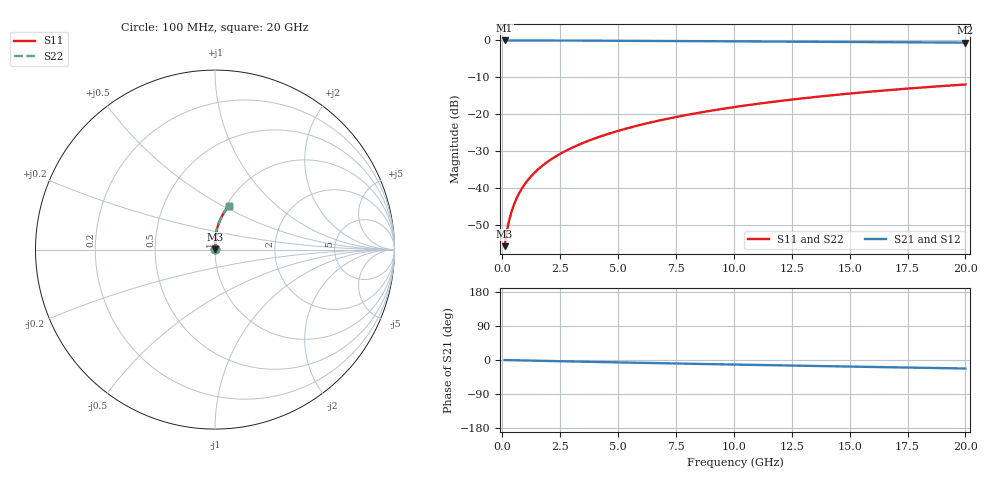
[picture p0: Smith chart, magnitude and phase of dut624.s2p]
! Touchstone file exported from HFSS 2024.1.0
!  File:  C:/UserFiles/LocalFiles/RDL_TSV_Batchsim/temp_RDL_bottom_624_1779784195.aedt
!  Generated:  04:32:39 PM May 26, 2026
!  Design:  RDL_bottom
!  Project:  temp_RDL_bottom_624_1779784195
!  Setup:  Setup1
!  Solution:  Sweep
! Variables:
!  dtsv = 10.80580581um
!  hbump = 3um
!  htsv = 74.66um
!  ldown = 266.69um
!  lrdl = 100um
!  p = 40
!  p1 = 59.56um
!  rhole = 1um
!  t = 450um
!  tdown = 4.65um
!  trdl = 3.915915916um
!  wdown = 21.86um
!  wrdl = 20um
# GHz S MA R 50.000000
! Terminal data exported
! Port[1] = RDL1_T1
! Port[2] = RDL1_T2
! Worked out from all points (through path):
!   200 points, 100 MHz to 20 GHz, reference 50 ohm
!   highest |S21| = -0.01 dB at 100 MHz (marker M1); lowest = -0.6 dB at 20 GHz (marker M2)
!   group delay of S21, straight-line fit = 3.08 ps
!   lowest |S11| = -55.7 dB at 100 MHz (marker M3), VSWR 1.00, Z = 50.1 + j0.123 ohm
!   |S11| at or under -10 dB: start of sweep to end of sweep
!   |S22| runs from -55.7 to -11.9 dB; largest |S21 - S12| = 4.1e-15
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0.1  0.001641 48.4  0.9989 -0.1  0.9989 -0.1  0.001641 48.4
! Gamma 0 0 0 0
! Port Impedance 50 0 50 0
0.2  0.002634 64.5  0.9988 -0.3  0.9988 -0.3  0.002634 64.5
0.3  0.003708 71.9  0.9988 -0.4  0.9988 -0.4  0.003708 71.9
0.4  0.004818 76.0  0.9987 -0.5  0.9987 -0.5  0.004818 76.0
0.5  0.005946 78.6  0.9986 -0.7  0.9986 -0.7  0.005946 78.6
0.7  0.008228 81.7  0.9985 -0.9  0.9985 -0.9  0.008228 81.7
0.8  0.009377 82.7  0.9984 -1.1  0.9984 -1.1  0.009377 82.7
1  0.01168 84.1  0.9982 -1.3  0.9982 -1.3  0.01168 84.1
1.2  0.01399 85.0  0.998 -1.6  0.998 -1.6  0.01399 85.0
1.4  0.01631 85.6  0.9977 -1.8  0.9977 -1.8  0.01631 85.6
1.7  0.0198 86.3  0.9973 -2.2  0.9973 -2.2  0.0198 86.3
2  0.0233 86.7  0.9968 -2.6  0.9968 -2.6  0.0233 86.7
2.7  0.03154 87.4  0.9954 -3.5  0.9954 -3.5  0.03154 87.4
3.5  0.04112 87.7  0.9935 -4.5  0.9935 -4.5  0.04112 87.7
4.2  0.04967 87.7  0.9915 -5.4  0.9915 -5.4  0.04967 87.7
5  0.05963 87.6  0.989 -6.3  0.989 -6.3  0.05963 87.6
6.8  0.0827 86.7  0.983 -8.4  0.983 -8.4  0.0827 86.7
8.4  0.1037 85.4  0.9774 -10.2  0.9774 -10.2  0.1037 85.4
10.1  0.1264 83.7  0.9714 -12.1  0.9714 -12.1  0.1264 83.7
13.4  0.1701 80.0  0.9594 -15.6  0.9594 -15.6  0.1701 80.0
16.7  0.2127 76.2  0.947 -19.1  0.947 -19.1  0.2127 76.2
20  0.2535 72.5  0.934 -22.4  0.934 -22.4  0.2535 72.5
